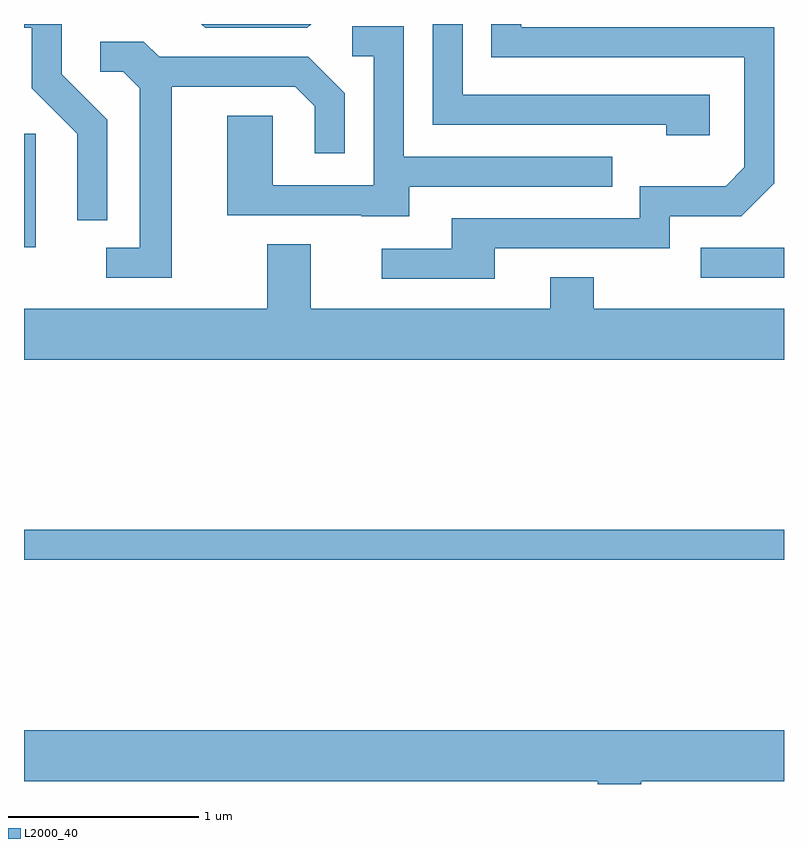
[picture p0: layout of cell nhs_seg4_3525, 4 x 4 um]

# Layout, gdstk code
import gdstk
lib = gdstk.Library(unit=1e-6, precision=1e-09)
def R(c, l, rs):  # rectangles x0, y0, x1, y1
    for r in rs: c.add(gdstk.rectangle(r[:2], r[2:], *l))
def P(c, l, *ps):  # polygons
    for p in ps: c.add(gdstk.Polygon(p, *l))
L2000_40 = (2000, 40)

nhs_seg4_3525 = lib.new_cell('nhs_seg4_3525')
R(nhs_seg4_3525, L2000_40, [(287.611,1369.161,291.611,1369.319), (291.173,1370.646,291.611,1370.804), (287.611,1370.806,287.674,1371.404)])
P(nhs_seg4_3525, L2000_40, [(290.089,1370.801),(291.009,1370.801),(291.009,1370.971),(291.387,1370.971),(291.559,1371.144),(291.559,1371.964),(290.229,1371.964),(290.229,1371.982),(290.071,1371.982),(290.071,1371.806),(291.401,1371.806),(291.401,1371.227),(291.304,1371.129),(290.851,1371.129),(290.851,1370.959),(289.861,1370.959),(289.861,1370.799),(289.493,1370.799),(289.493,1370.641),(290.089,1370.641)],
  [(288.049,1371.477),(287.809,1371.717),(287.809,1371.982),(287.611,1371.982),(287.611,1371.961),(287.651,1371.961),(287.651,1371.644),(287.891,1371.404),(287.891,1370.948),(288.049,1370.948)],
  [(289.123,1371.982),(288.543,1371.982),(288.564,1371.961),(289.102,1371.961)],
  [(291.219,1371.609),(289.919,1371.609),(289.919,1371.982),(289.761,1371.982),(289.761,1371.451),(290.991,1371.451),(290.991,1371.396),(291.219,1371.396)],
  [(289.639,1371.126),(290.708,1371.126),(290.708,1371.284),(289.609,1371.284),(289.609,1371.969),(289.338,1371.969),(289.338,1371.811),(289.451,1371.811),(289.451,1371.134),(288.919,1371.134),(288.919,1371.499),(288.681,1371.499),(288.681,1370.976),(289.385,1370.976),(289.385,1370.971),(289.639,1370.971)],
  [(288.389,1371.651),(289.039,1371.651),(289.141,1371.549),(289.141,1371.303),(289.299,1371.303),(289.299,1371.617),(289.107,1371.809),(288.322,1371.809),(288.242,1371.889),(288.013,1371.889),(288.013,1371.731),(288.134,1371.731),(288.221,1371.644),(288.221,1370.804),(288.043,1370.804),(288.043,1370.646),(288.389,1370.646)],
  [(290.381,1370.649),(290.381,1370.484),(289.119,1370.484),(289.119,1370.824),(288.891,1370.824),(288.891,1370.484),(287.611,1370.484),(287.611,1370.216),(291.611,1370.216),(291.611,1370.484),(290.609,1370.484),(290.609,1370.649)],
  [(290.859,1367.996),(291.611,1367.996),(291.611,1368.264),(287.611,1368.264),(287.611,1367.996),(290.631,1367.996),(290.631,1367.982),(290.859,1367.982)])

lib.write_gds('nhs_seg4_3525.gds')
